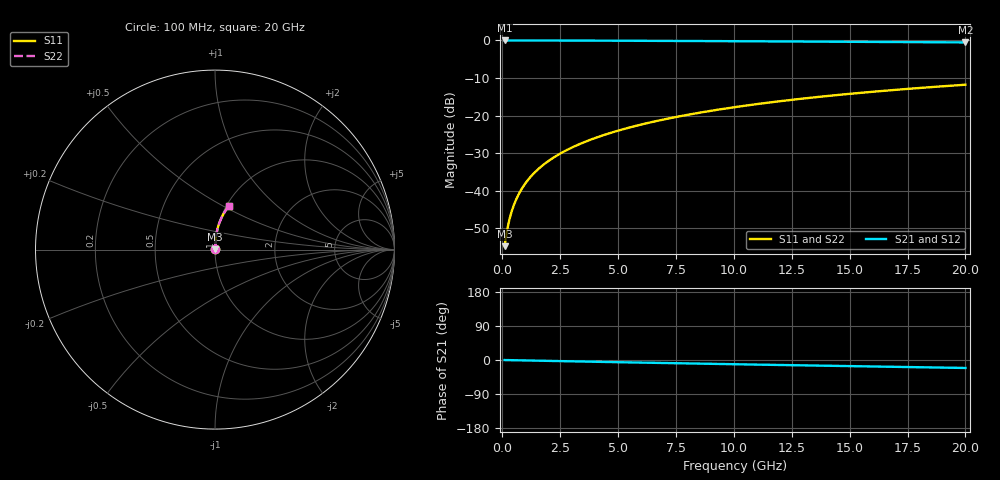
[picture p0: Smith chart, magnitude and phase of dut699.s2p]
! Touchstone file exported from HFSS 2024.1.0
!  File:  C:/UserFiles/LocalFiles/RDL_TSV_Batchsim/temp_RDL_top_699_1779783127.aedt
!  Generated:  04:14:29 PM May 26, 2026
!  Design:  RDL_top
!  Project:  temp_RDL_top_699_1779783127
!  Setup:  Setup1
!  Solution:  Sweep
! Variables:
!  dtsv = 10.80580581um
!  hbump = 3um
!  htsv = 83.62um
!  ldown = 100um
!  lrdl = 229.77um
!  p = 40
!  p1 = 58.73um
!  rhole = 1um
!  t = 450um
!  tdown = 3.915915916um
!  trdl = 4.08um
!  wdown = 15.38538539um
!  wrdl = 17.86um
# GHz S MA R 50.000000
! Terminal data exported
! Port[1] = Box2_T1
! Port[2] = Box2_T2
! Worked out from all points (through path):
!   200 points, 100 MHz to 20 GHz, reference 50 ohm
!   highest |S21| = -0.01 dB at 100 MHz (marker M1); lowest = -0.5 dB at 20 GHz (marker M2)
!   group delay of S21, straight-line fit = 2.9 ps
!   lowest |S11| = -54.8 dB at 100 MHz (marker M3), VSWR 1.00, Z = 50.1 + j0.13 ohm
!   |S11| at or under -10 dB: start of sweep to end of sweep
!   |S22| runs from -54.8 to -11.8 dB; largest |S21 - S12| = 2.7e-15
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0.1  0.001819 45.4  0.9987 -0.1  0.9987 -0.1  0.001819 45.4
! Gamma 0 0 0 0
! Port Impedance 50 0 50 0
0.2  0.002881 62.7  0.9987 -0.2  0.9987 -0.2  0.002882 62.7
0.3  0.004038 70.3  0.9986 -0.4  0.9986 -0.4  0.004038 70.3
0.4  0.005222 74.5  0.9985 -0.5  0.9985 -0.5  0.005223 74.5
0.5  0.006422 77.2  0.9985 -0.6  0.9985 -0.6  0.006422 77.2
0.6  0.007631 79.1  0.9984 -0.7  0.9984 -0.7  0.007631 79.1
0.8  0.01007 81.5  0.9983 -1.0  0.9983 -1.0  0.01007 81.5
1.1  0.01375 83.5  0.9981 -1.3  0.9981 -1.3  0.01375 83.5
1.5  0.01868 84.9  0.9977 -1.8  0.9977 -1.8  0.01868 84.9
1.8  0.0224 85.4  0.9974 -2.1  0.9974 -2.1  0.0224 85.4
2.1  0.02612 85.8  0.997 -2.5  0.997 -2.5  0.02612 85.8
2.7  0.03361 86.2  0.9961 -3.2  0.9961 -3.2  0.03361 86.2
3.5  0.04368 86.3  0.9946 -4.1  0.9946 -4.1  0.04368 86.3
4.2  0.05257 86.3  0.9931 -4.9  0.9931 -4.9  0.05257 86.3
5  0.06284 86.0  0.9911 -5.8  0.9911 -5.8  0.06284 86.0
5.9  0.07451 85.5  0.9887 -6.8  0.9887 -6.8  0.07451 85.5
6.8  0.08629 85.0  0.9861 -7.8  0.9861 -7.8  0.08628 85.0
8.3  0.1061 83.8  0.9816 -9.4  0.9816 -9.4  0.1061 83.8
10.1  0.13 82.3  0.9759 -11.2  0.9759 -11.2  0.13 82.2
13.4  0.1736 79.0  0.9648 -14.6  0.9648 -14.6  0.1736 79.0
16.7  0.2161 75.6  0.953 -17.8  0.953 -17.8  0.2161 75.6
20  0.257 72.3  0.9403 -21.0  0.9403 -21.0  0.257 72.3
